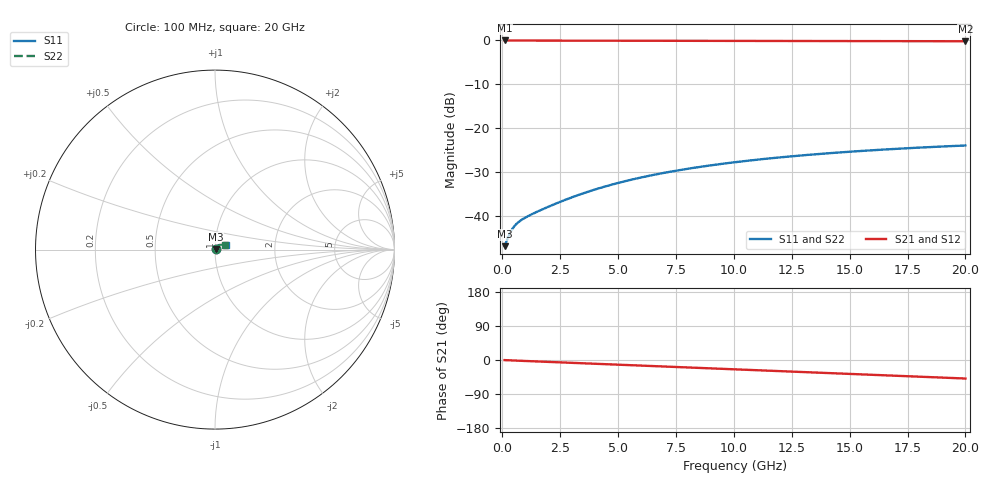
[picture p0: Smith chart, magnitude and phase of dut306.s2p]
! Touchstone file exported from HFSS 2026.1.0
!  File:  C:/ffzhzh/LocalFiles/Ansys_Project_Files/temp_train_TMRDL_306_1783003211_53980.aedt
!  Generated:  10:41:35 PM Jul  2, 2026
!  Design:  TMRDL
!  Project:  temp_train_TMRDL_306_1783003211_53980
! Variables:
!  h_bsmrdl = 2um
!  h_ox = 20um
!  h_rdl = 5um
!  h_sub = 80um
!  h_tmrdl = 2.76um
!  h_tsv = 80um
!  h_via = 3um
!  l_bsmrdl = 300um
!  l_sub = 1262.54um
!  l_tmrdl = 862.54um
!  m_sub = 200um
!  pitch = 32.54um
!  r_tsv = 6um
!  s_tmrdl = 10um
!  w_bsmrdl = 18um
!  w_sub = 500um
!  w_tmrdl = 27.52um
!  x_tsv_center1 = 876.3um
!  x_tsv_center2 = 1194.3um
!  x_tsv_center3 = 2084.36um
!  x_tsv_center4 = 2402.36um
!  x_tsv_center5 = 3292.42um
!  x_tsv_center6 = 3610.42um
# GHz S MA R 50.000000
! Terminal data exported
! Port[1] = TM_RDL1_1_T1
! Port[2] = TM_RDL1_1_T2
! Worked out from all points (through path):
!   200 points, 100 MHz to 20 GHz, reference 50 ohm
!   highest |S21| = -0.04 dB at 100 MHz (marker M1); lowest = -0.2 dB at 20 GHz (marker M2)
!   group delay of S21, straight-line fit = 6.77 ps
!   lowest |S11| = -46.8 dB at 100 MHz (marker M3), VSWR 1.01, Z = 50.4 + j0.122 ohm
!   |S11| at or under -10 dB: start of sweep to end of sweep
!   |S22| runs from -46.8 to -24.0 dB; largest |S21 - S12| = 4.1e-15
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0.1  0.004558 15.4  0.9956 -0.3  0.9956 -0.3  0.004558 15.4
! Gamma 0 0 0 0
! Port Impedance 50 0 50 0
0.3  0.006173 29.5  0.9947 -0.9  0.9947 -0.9  0.006173 29.5
0.4  0.006939 31.6  0.9942 -1.1  0.9942 -1.1  0.006938 31.6
0.5  0.007581 32.5  0.9937 -1.4  0.9937 -1.4  0.00758 32.5
0.6  0.008114 33.2  0.9933 -1.6  0.9933 -1.6  0.008112 33.2
0.8  0.008962 34.4  0.9928 -2.1  0.9928 -2.1  0.008959 34.4
1  0.009655 35.9  0.9924 -2.6  0.9924 -2.6  0.009651 35.9
1.2  0.01029 37.6  0.9922 -3.1  0.9922 -3.1  0.01028 37.6
1.9  0.0125 43.3  0.9916 -4.8  0.9916 -4.8  0.01249 43.4
2.7  0.01526 48.0  0.9911 -6.8  0.9911 -6.8  0.01525 48.0
3.5  0.01821 50.5  0.9906 -8.8  0.9906 -8.8  0.0182 50.6
4.3  0.02122 51.6  0.9899 -10.8  0.9899 -10.8  0.02121 51.7
5.1  0.02423 51.7  0.9892 -12.7  0.9892 -12.7  0.02421 51.8
5.9  0.02719 51.2  0.9885 -14.7  0.9885 -14.7  0.02717 51.3
6.8  0.03043 50.1  0.9876 -16.9  0.9876 -16.9  0.0304 50.2
8.4  0.03589 47.4  0.9859 -20.8  0.9859 -20.8  0.03584 47.6
10.1  0.04122 44.0  0.9842 -25.0  0.9842 -25.0  0.04116 44.3
11.7  0.04581 40.6  0.9825 -28.9  0.9825 -28.9  0.04574 40.9
13.4  0.05026 36.9  0.9808 -33.0  0.9808 -33.0  0.05016 37.2
15  0.05405 33.3  0.9794 -36.9  0.9794 -36.9  0.05393 33.7
16.7  0.05768 29.5  0.9779 -41.0  0.9779 -41.0  0.05753 30.0
20  0.06362 22.2  0.9754 -48.9  0.9754 -48.9  0.06342 22.8
